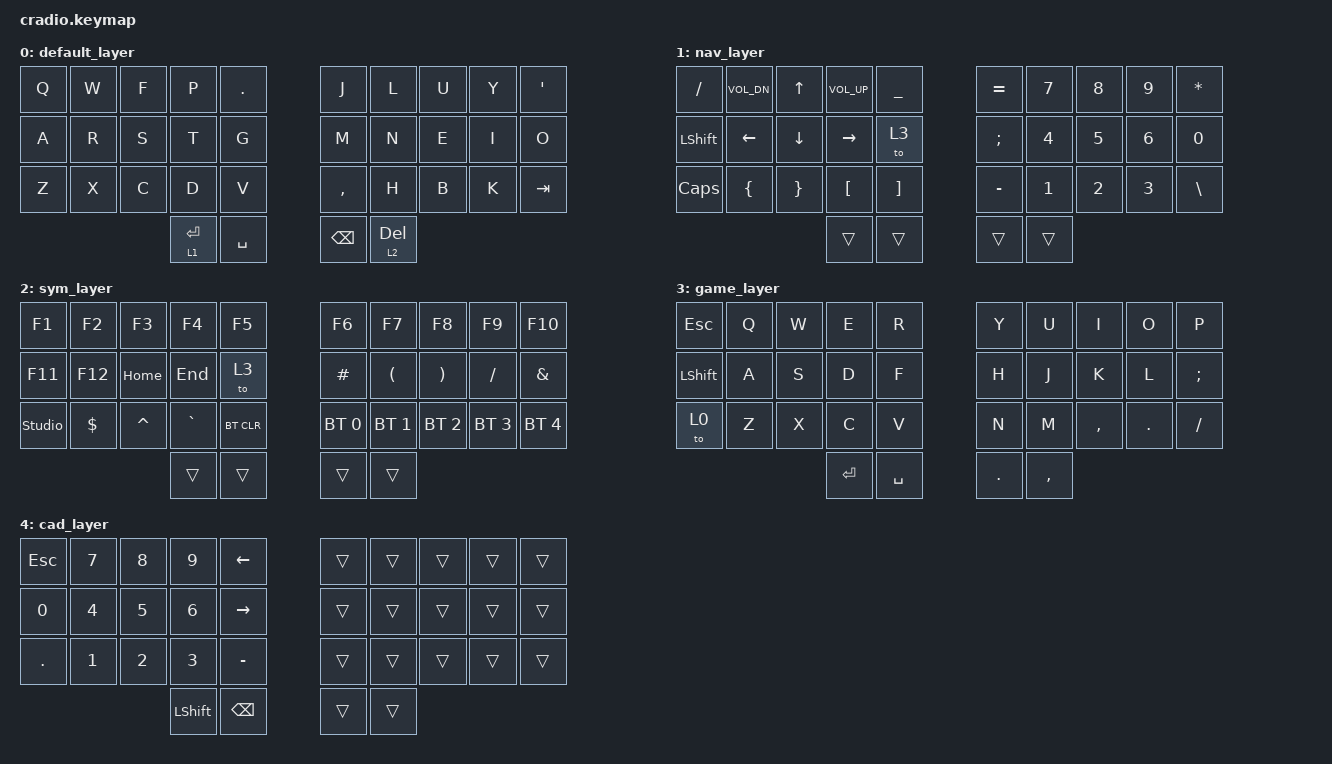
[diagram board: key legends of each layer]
// Copyrigmt (c) 2022 The ZMK Contributors
// SPDX-License-Identifier: MIT

#include <behaviors.dtsi>
#include <dt-bindings/zmk/bt.h>
#include <dt-bindings/zmk/keys.h>

#define DEFAULT 1
#define LOWER   0
#define RAISE   2
#define GAME    3

/ {
    behaviors {
        ht: hold_tap {
            label = "hold_tap";
            compatible = "zmk,behavior-hold-tap";
            #binding-cells = <2>;
            flavor = "tap-preferred";
            tapping-term-ms = <250>;
            quick-tap-ms = <150>;
            global-quick-tap;
            bindings = <&kp>, <&kp>;
        };
    };

    td1: TD1Shift2Z {
        compatible = "zmk,behavior-tap-dance";
        label = "TD1SHIFT2Z";
        #binding-cells = <0>;
        tapping-term-ms = <200>;
        bindings = <&StickyShft>, <&kp Z>;
    };

    combos {
        compatible = "zmk,combos";

        CbShft {
            bindings = <&StickyShft>;
            key-positions = <12 13>;
            timeout-ms = <25>;
            layers = <0 1 2 4>;
        };

        CbCtrl {
            bindings = <&StickyCtrl>;
            key-positions = <12 11>;
            timeout-ms = <25>;
            layers = <0 1 2 4>;
        };

        CbAlt {
            bindings = <&StickyAlt>;
            key-positions = <10 11>;
            timeout-ms = <25>;
            layers = <0 1 2 4>;
        };

        CbGui {
            bindings = <&kp LEFT_GUI>;
            key-positions = <13 10>;
            timeout-ms = <25>;
            layers = <0 1 2 4>;
            slow-release;
        };

        CbAltTab {
            bindings = <&alt_tab>;
            key-positions = <30 12>;
            slow-release;
            timeout-ms = <100>;
            layers = <0 1 2 3 4>;
        };

        CbEsc {
            bindings = <&kp ESC>;
            key-positions = <0 1>;
            timeout-ms = <100>;
        };

        CbPass {
            bindings = <&pass>;
            key-positions = <2 1>;
            timeout-ms = <100>;
            layers = <0>;
        };

        CbEmail {
            bindings = <&email>;
            key-positions = <3 2>;
            timeout-ms = <100>;
            layers = <0>;
        };

        CbCopy {
            bindings = <&kp LC(C)>;
            key-positions = <30 11>;
            timeout-ms = <100>;
            layers = <0>;
        };

        CbPaste {
            bindings = <&kp LC(V)>;
            key-positions = <30 13>;
            timeout-ms = <100>;
            layers = <0>;
        };

        CbUndo {
            bindings = <&kp LC(Z)>;
            key-positions = <30 10>;
            timeout-ms = <100>;
            layers = <0>;
        };

        CbRepeat {
            bindings = <&key_repeat>;
            key-positions = <30 14>;
            timeout-ms = <100>;
            layers = <0>;
        };

        CbTabUp {
            bindings = <&kp LC(PG_UP)>;
            key-positions = <12 10>;
            timeout-ms = <25>;
            layers = <0>;
        };

        CbTabDown {
            bindings = <&kp LC(PAGE_DOWN)>;
            key-positions = <11 13>;
            timeout-ms = <25>;
            layers = <0>;
        };

        CbBootloaderLeft {
            bindings = <&bootloader>;
            key-positions = <3 2 1 4>;
            timeout-ms = <25>;
            layers = <0>;
        };

        CbPause {
            bindings = <&kp C_PAUSE>;
            key-positions = <14 13>;
            timeout-ms = <50>;
            layers = <0>;
        };

        CbAria {
            bindings = <&kp LC(SLASH)>;
            key-positions = <23 22>;
            timeout-ms = <100>;
            layers = <0>;
        };

        CbCtrlA {
            bindings = <&kp LC(A)>;
            key-positions = <22 21>;
            timeout-ms = <100>;
            layers = <0>;
        };

        CbHome {
            bindings = <&kp HOME>;
            key-positions = <30 2>;
            timeout-ms = <100>;
            layers = <0>;
        };

        CbEnd {
            bindings = <&kp END>;
            key-positions = <30 3>;
            timeout-ms = <100>;
            layers = <0>;
        };

        CbMute {
            bindings = <&kp C_MUTE>;
            key-positions = <21 20>;
            layers = <0>;
            timeout-ms = <100>;
        };

        CbPower {
            bindings = <&kp C_POWER>;
            key-positions = <24 23 22 23 24 25 26 27>;
            layers = <0>;
            timeout-ms = <100>;
        };

        CbBootloaderRight {
            bindings = <&bootloader>;
            key-positions = <5 6 7 8>;
            timeout-ms = <25>;
            layers = <0>;
        };

        CbCtrlBackspace {
            bindings = <&kp LC(BACKSPACE)>;
            key-positions = <16 17>;
            timeout-ms = <25>;
            layers = <0>;
        };

        CbCadLayer {
            bindings = <&tog 4>;
            key-positions = <31 30>;
            timeout-ms = <25>;
            layers = <0 3 4 1 2>;
        };

        CbLeftPar {
            bindings = <&kp LEFT_PARENTHESIS>;
            key-positions = <7 6>;
            timeout-ms = <25>;
            layers = <0>;
        };

        CbRightPar {
            bindings = <&kp RIGHT_PARENTHESIS>;
            key-positions = <7 8>;
            timeout-ms = <100>;
            layers = <0>;
        };

        CbSemi {
            bindings = <&kp SEMI>;
            key-positions = <27 28>;
            timeout-ms = <100>;
            layers = <0>;
        };

        CbLeft0 {
            bindings = <&kp N0>;
            key-positions = <10 11>;
            timeout-ms = <50>;
            layers = <1>;
        };

        CbLeft1 {
            bindings = <&kp NUMBER_1>;
            key-positions = <21 22>;
            timeout-ms = <50>;
            layers = <1>;
        };

        CbLeft2 {
            bindings = <&kp NUMBER_2>;
            key-positions = <23 21>;
            timeout-ms = <50>;
            layers = <1>;
        };

        CbLeft3 {
            bindings = <&kp NUMBER_3>;
            key-positions = <23 22>;
            timeout-ms = <50>;
            layers = <1>;
        };

        CbLeft4 {
            bindings = <&kp NUMBER_4>;
            key-positions = <11 12>;
            timeout-ms = <50>;
            layers = <1>;
        };

        CbLeft5 {
            bindings = <&kp N5>;
            key-positions = <11 13>;
            timeout-ms = <50>;
            layers = <1>;
        };

        CbLeft6 {
            bindings = <&kp NUMBER_6>;
            key-positions = <13 12>;
            timeout-ms = <50>;
            layers = <1>;
        };

        CbLeft7 {
            bindings = <&kp N7>;
            key-positions = <1 2>;
            timeout-ms = <50>;
            layers = <1>;
        };

        CbLeft8 {
            bindings = <&kp N8>;
            key-positions = <1 3>;
            timeout-ms = <50>;
            layers = <1>;
        };

        CbLeft9 {
            bindings = <&kp N9>;
            key-positions = <3 2>;
            timeout-ms = <50>;
            layers = <1>;
        };

        CbLeftTab {
            bindings = <&kp TAB>;
            key-positions = <31 20>;
            timeout-ms = <25>;
            layers = <0>;
        };

        CbGameLayer {
            bindings = <&tog 3>;
            key-positions = <33 32>;
            timeout-ms = <25>;
            layers = <0 1 2 3 4>;
        };

        CbEmergencyLayerReturn {
            bindings = <&to 0>;
            key-positions = <4 0>;
            timeout-ms = <100>;
            layers = <0 2 1 3 4>;
        };

        CbFSlash {
            bindings = <&kp SLASH>;
            key-positions = <27 26>;
            timeout-ms = <100>;
            layers = <0>;
        };

        CbTaskManager {
            bindings = <&TaskManager>;
            key-positions = <30 4>;
            timeout-ms = <100>;
            layers = <0>;
        };

        CbAltSpace {
            bindings = <&kp LA(SPACE)>;
            key-positions = <12 13 11>;
            timeout-ms = <25>;
            layers = <0 1 2 3 4>;
        };

        CbTextExtractor {
            bindings = <&kp LS(LG(T))>;
            key-positions = <30 24>;
            timeout-ms = <25>;
            layers = <0 1 2 3 4>;
        };

        CbCtrlDel {
            bindings = <&kp LC(DEL)>;
            key-positions = <17 18>;
            timeout-ms = <25>;
            layers = <0>;
        };
    };

    macros {
        pass: pass {
            compatible = "zmk,behavior-macro";
            #binding-cells = <0>;
            bindings = <&kp LS(E) &kp LS(L) &kp I &kp N0 &kp N8 &kp N1 &kp N3 &kp N0 &kp N7 &kp POUND>;
            label = "PASS";
        };

        email: email {
            compatible = "zmk,behavior-macro";
            #binding-cells = <0>;
            bindings = <&kp K &kp I &kp T &kp E &kp S &kp A &kp N &kp D &kp D &kp A &kp R &kp T &kp S &kp AT &kp G &kp M &kp A &kp I &kp L &kp DOT &kp C &kp O &kp M>;
            label = "EMAIL";
        };

        alt_tab: alt_tab {
            compatible = "zmk,behavior-macro";
            #binding-cells = <0>;
            bindings =
                <&macro_press>,
                <&kp LEFT_ALT &kp TAB &mo 1>,
                <&macro_release>,
                <&kp TAB>,
                <&macro_pause_for_release>,
                <&macro_release>,
                <&kp LEFT_ALT &mo 1>;

            label = "ALT_TAB";
        };

        Username: Username {
            compatible = "zmk,behavior-macro";
            #binding-cells = <0>;
            bindings = <&kp LS(K) &kp I &kp T &kp E &kp S &kp LS(A) &kp N &kp D &kp LS(D) &kp A &kp R &kp T &kp S>;
            label = "USERNAME";
        };

        StickyShft: StickyShft {
            compatible = "zmk,behavior-macro";
            #binding-cells = <0>;
            bindings = <&macro_tap>, <&sk LEFT_SHIFT>;

            label = "STICKYSHFT";
            tap-ms = <5>;
        };

        StickyAlt: StickyAlt {
            compatible = "zmk,behavior-macro";
            #binding-cells = <0>;
            bindings = <&macro_tap>, <&sk LEFT_ALT>;

            label = "STICKYALT";
            tap-ms = <5>;
        };

        StickyCtrl: StickyCtrl {
            compatible = "zmk,behavior-macro";
            #binding-cells = <0>;
            bindings = <&macro_tap>, <&sk LCTRL>;

            label = "STICKYCTRL";
            tap-ms = <5>;
        };

        TaskManager: TaskManager {
            compatible = "zmk,behavior-macro";
            #binding-cells = <0>;
            bindings = <&kp RCTRL &kp LEFT_SHIFT &kp ESC>;
            label = "TASKMANAGER";
        };
    };

    keymap {
        compatible = "zmk,keymap";

        default_layer {
            bindings = <
&kp Q  &kp W  &kp F  &kp P        &kp PERIOD    &kp J      &kp L      &kp U  &kp Y  &kp SQT
&kp A  &kp R  &kp S  &kp T        &kp G         &kp M      &kp N      &kp E  &kp I  &kp O
&kp Z  &kp X  &kp C  &kp D        &kp V         &kp COMMA  &kp H      &kp B  &kp K  &kp TAB
                     &lt 1 ENTER  &kp SPACE     &kp BSPC   &lt 2 DEL
            >;
        };

        nav_layer {
            bindings = <
&kp SLASH  &kp C_VOL_DN  &kp UP_ARROW  &kp C_VOL_UP  &kp UNDER    &kp EQUAL  &kp N7  &kp N8  &kp N9  &kp ASTRK
&kp LSHFT  &kp LEFT      &kp DOWN      &kp RIGHT     &to 3        &kp SEMI   &kp N4  &kp N5  &kp N6  &kp N0
&kp CAPS   &kp LBRC      &kp RBRC      &kp LBKT      &kp RBKT     &kp MINUS  &kp N1  &kp N2  &kp N3  &kp BSLH
                                       &trans        &trans       &trans     &trans
            >;
        };

        sym_layer {
            bindings = <
&kp F1       &kp F2      &kp F3     &kp F4     &kp F5        &kp F6        &kp F7        &kp F8        &kp F9        &kp F10
&kp F11      &kp F12     &kp HOME   &kp END    &to 3         &kp HASH      &kp LPAR      &kp RPAR      &kp FSLH      &kp AMPS
&studio_unlock  &kp DOLLAR  &kp CARET  &kp GRAVE  &bt BT_CLR    &bt BT_SEL 0  &bt BT_SEL 1  &bt BT_SEL 2  &bt BT_SEL 3  &bt BT_SEL 4
                                    &trans     &trans        &trans        &trans
            >;
        };

        game_layer {
            bindings = <
&kp ESC    &kp Q  &kp W  &kp E      &kp R        &kp Y       &kp U      &kp I      &kp O    &kp P
&kp LSHFT  &kp A  &kp S  &kp D      &kp F        &kp H       &kp J      &kp K      &kp L    &kp SEMI
&to 0      &kp Z  &kp X  &kp C      &kp V        &kp N       &kp M      &kp COMMA  &kp DOT  &kp FSLH
                         &kp ENTER  &kp SPACE    &kp PERIOD  &kp COMMA
            >;
        };

        cad_layer {
            bindings = <
&kp ESC  &kp N7  &kp N8  &kp N9     &kp LEFT     &trans  &trans  &trans  &trans  &trans
&kp N0   &kp N4  &kp N5  &kp N6     &kp RIGHT    &trans  &trans  &trans  &trans  &trans
&kp DOT  &kp N1  &kp N2  &kp N3     &kp MINUS    &trans  &trans  &trans  &trans  &trans
                         &kp LSHFT  &kp BSPC     &trans  &trans
            >;
        };
    };
};
